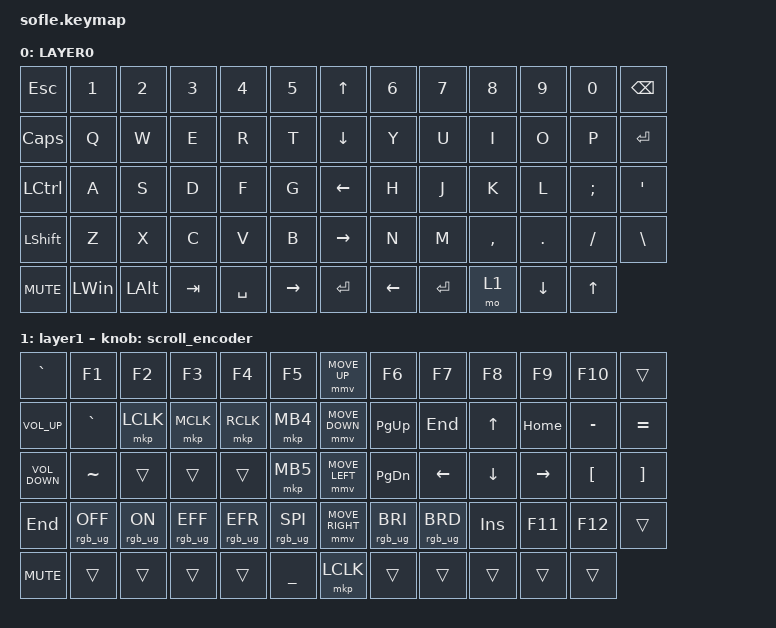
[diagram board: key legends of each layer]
#include <behaviors/mouse_keys.dtsi>
#include <behaviors.dtsi>
#include <dt-bindings/zmk/keys.h>
#include <dt-bindings/zmk/mouse.h>
#include <dt-bindings/zmk/rgb.h>

#define ZMK_MOUSE_DEFAULT_MOVE_VAL 1200  // 600
#define ZMK_MOUSE_DEFAULT_SCRL_VAL 20    // 10
#define U_MS_U &mmv MOVE_UP
#define U_MS_D &mmv MOVE_DOWN
#define U_MS_L &mmv MOVE_LEFT
#define U_MS_R &mmv MOVE_RIGHT
#define ZMK_MOUSE_DEFAULT_MOVE_VAL 1200  //  600
#define ZMK_MOUSE_DEFAULT_SCRL_VAL 20    // 10

/ {
    behaviors {
        mmv {
            acceleration-exponent = <1>;      // 1
            time-to-max-speed-ms = <900>;    // 40
            delay-ms = <0>;                   // 0
        };

        msc {
            acceleration-exponent = <1>;      // 0
            time-to-max-speed-ms = <400>;      // 500
            delay-ms = <0>;                   //   10
        };
    };

    scroll_encoder: scroll_encoder {
        compatible = "zmk,behavior-sensor-rotate";
        #sensor-binding-cells = <0>;
        bindings = <&msc SCRL_DOWN>, <&msc SCRL_UP>;

        tap-ms = <30>;
    };

    keymap {
        compatible = "zmk,keymap";

        layer0 {
            bindings = <
&kp ESC           &kp N1        &kp N2        &kp N3   &kp N4     &kp N5       &kp UP_ARROW     &kp N6    &kp N7     &kp N8     &kp N9    &kp N0        &kp BACKSPACE
&kp CAPS          &kp Q         &kp W         &kp E    &kp R      &kp T        &kp DOWN_ARROW   &kp Y     &kp U      &kp I      &kp O     &kp P         &kp ENTER
&kp LEFT_CONTROL  &kp A         &kp S         &kp D    &kp F      &kp G        &kp LEFT_ARROW   &kp H     &kp J      &kp K      &kp L     &kp SEMI      &kp APOS
&kp LSHFT         &kp Z         &kp X         &kp C    &kp V      &kp B        &kp RIGHT_ARROW  &kp N     &kp M      &kp COMMA  &kp DOT   &kp FSLH      &kp BACKSLASH
&kp C_MUTE        &kp LEFT_WIN  &kp LEFT_ALT  &kp TAB  &kp SPACE  &kp RIGHT    &kp ENTER        &kp LEFT  &kp ENTER  &mo 1      &kp DOWN  &kp UP_ARROW
            >;

            display-name = "LAYER0";
        };

        layer_1 {
            bindings = <
&kp GRAVE          &kp F1           &kp F2          &kp F3           &kp F4           &kp F5             &mmv MOVE_UP     &kp F6           &kp F7           &kp F8      &kp F9     &kp F10           &trans
&kp C_VOLUME_UP    &kp GRAVE        &mkp LCLK       &mkp MCLK        &mkp RCLK        &mkp MB4           &mmv MOVE_DOWN   &kp PG_UP        &kp END          &kp UP      &kp HOME   &kp MINUS         &kp EQUAL
&kp C_VOLUME_DOWN  &kp TILDE        &trans          &trans           &trans           &mkp MB5           &mmv MOVE_LEFT   &kp PG_DN        &kp LEFT         &kp DOWN    &kp RIGHT  &kp LEFT_BRACKET  &kp RIGHT_BRACKET
&kp END            &rgb_ug RGB_OFF  &rgb_ug RGB_ON  &rgb_ug RGB_EFF  &rgb_ug RGB_EFR  &rgb_ug RGB_SPI    &mmv MOVE_RIGHT  &rgb_ug RGB_BRI  &rgb_ug RGB_BRD  &kp INSERT  &kp F11    &kp F12           &trans
&kp C_MUTE         &trans           &trans          &trans           &trans           &kp UNDER          &mkp LCLK        &trans           &trans           &trans      &trans     &trans
            >;

            display-name = "layer1";
            sensor-bindings = <&scroll_encoder>;
        };
    };
};
